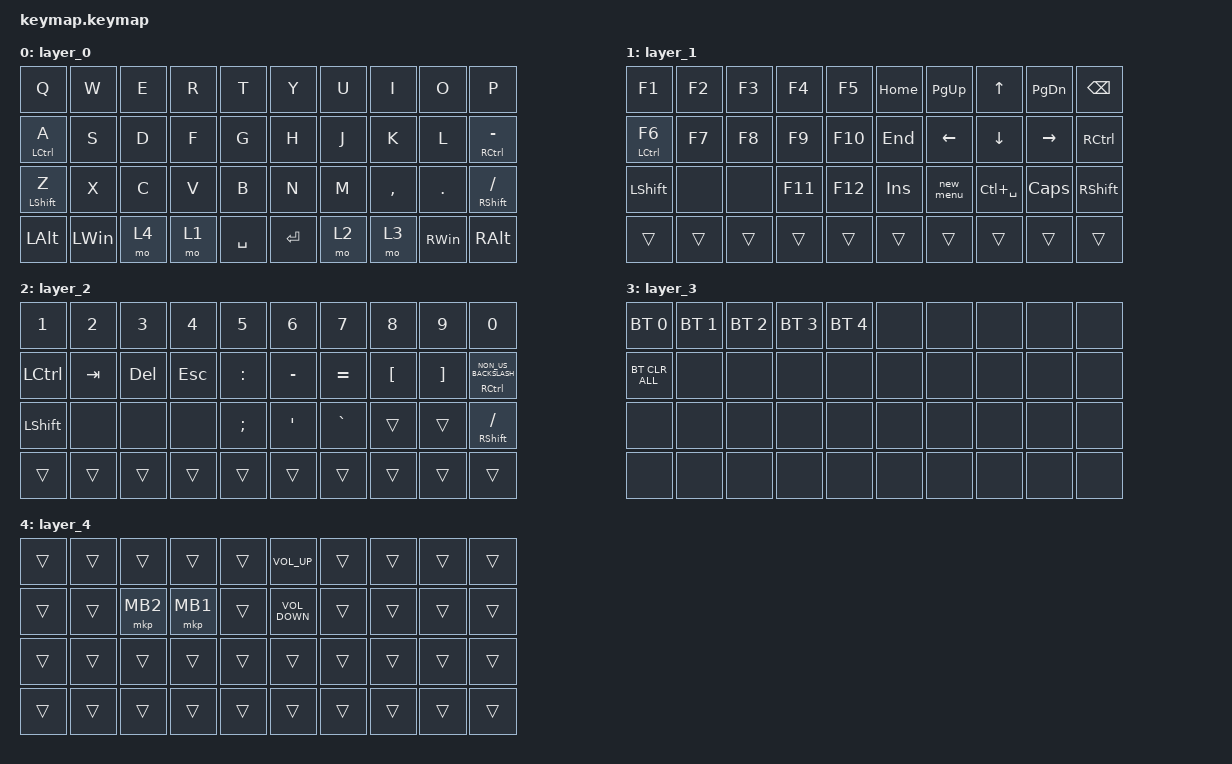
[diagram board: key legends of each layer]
#include <behaviors.dtsi>
#include <dt-bindings/zmk/bt.h>
#include <dt-bindings/zmk/keys.h>
#include <dt-bindings/zmk/pointing.h>

/ {
    macros {
        new_menu: new_menu {
            compatible = "zmk,behavior-macro";
            #binding-cells = <0>;
            bindings =
                <&macro_press>,
                <&kp LSHIFT>,
                <&macro_tap>,
                <&kp K_APP>,
                <&macro_release>,
                <&kp LEFT_SHIFT>;

            label = "NEW_MENU";
        };
    };

    keymap {
        compatible = "zmk,keymap";

        layer_0 {
            bindings = <
&kp Q             &kp W         &kp E  &kp R  &kp T      &kp Y      &kp U  &kp I      &kp O          &kp P
&mt LCTRL A       &kp S         &kp D  &kp F  &kp G      &kp H      &kp J  &kp K      &kp L          &mt RCTRL MINUS
&mt LEFT_SHIFT Z  &kp X         &kp C  &kp V  &kp B      &kp N      &kp M  &kp COMMA  &kp PERIOD     &mt RIGHT_SHIFT SLASH
&kp LEFT_ALT      &kp LEFT_WIN  &mo 4  &mo 1  &kp SPACE  &kp ENTER  &mo 2  &mo 3      &kp RIGHT_WIN  &kp RIGHT_ALT
            >;
        };

        layer_1 {
            bindings = <
&kp F1          &kp F2  &kp F3  &kp F4   &kp F5   &kp HOME  &kp PG_UP       &kp UP_ARROW    &kp PG_DN        &kp BACKSPACE
&mt LCTRL F6    &kp F7  &kp F8  &kp F9   &kp F10  &kp END   &kp LEFT_ARROW  &kp DOWN_ARROW  &kp RIGHT_ARROW  &kp RCTRL
&kp LEFT_SHIFT  &none   &none   &kp F11  &kp F12  &kp INS   &new_menu       &kp LC(SPACE)   &kp CAPSLOCK     &kp RIGHT_SHIFT
&trans          &trans  &trans  &trans   &trans   &trans    &trans          &trans          &trans           &trans
            >;
        };

        layer_2 {
            bindings = <
&kp NUMBER_1    &kp NUMBER_2  &kp NUMBER_3  &kp NUMBER_4  &kp N5         &kp NUMBER_6  &kp N7     &kp N8            &kp N9             &kp N0
&kp LCTRL       &kp TAB       &kp DELETE    &kp ESCAPE    &kp COLON      &kp MINUS     &kp EQUAL  &kp LEFT_BRACKET  &kp RIGHT_BRACKET  &mt RCTRL NON_US_BACKSLASH
&kp LEFT_SHIFT  &none         &none         &none         &kp SEMICOLON  &kp SQT       &kp GRAVE  &trans            &trans             &mt RIGHT_SHIFT SLASH
&trans          &trans        &trans        &trans        &trans         &trans        &trans     &trans            &trans             &trans
            >;
        };

        layer_3 {
            bindings = <
&bt BT_SEL 0    &bt BT_SEL 1  &bt BT_SEL 2  &bt BT_SEL 3  &bt BT_SEL 4  &none  &none  &none  &none  &none
&bt BT_CLR_ALL  &none         &none         &none         &none         &none  &none  &none  &none  &none
&none           &none         &none         &none         &none         &none  &none  &none  &none  &none
&none           &none         &none         &none         &none         &none  &none  &none  &none  &none
            >;
        };

        layer_4 {
            bindings = <
&trans  &trans  &trans    &trans    &trans  &kp C_VOLUME_UP    &trans  &trans  &trans  &trans
&trans  &trans  &mkp MB2  &mkp MB1  &trans  &kp C_VOLUME_DOWN  &trans  &trans  &trans  &trans
&trans  &trans  &trans    &trans    &trans  &trans             &trans  &trans  &trans  &trans
&trans  &trans  &trans    &trans    &trans  &trans             &trans  &trans  &trans  &trans
            >;
        };
    };
};
